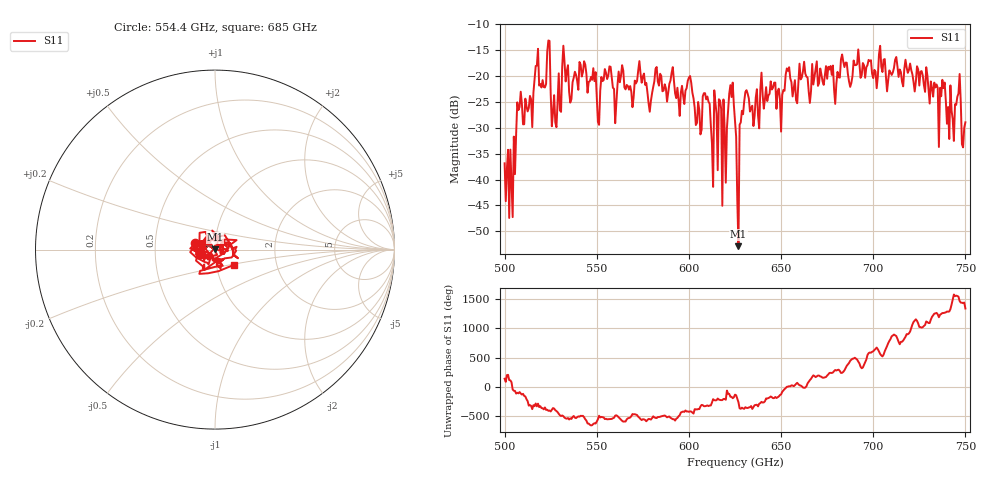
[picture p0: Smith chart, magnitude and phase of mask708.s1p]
!Created with skrf (http://scikit-rf.org).
# GHz S MA R 50.0
!freq magS11 angS11
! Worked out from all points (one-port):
!   401 points, 500 GHz to 750 GHz, reference 50 ohm
!   lowest |S11| = -52.9 dB at 626.9 GHz (marker M1), VSWR 1.00, Z = 50 + j0.227 ohm
!   |S11| at or under -10 dB: start of sweep to end of sweep
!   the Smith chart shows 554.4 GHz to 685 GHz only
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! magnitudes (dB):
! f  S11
! 500 GHz  -36.9
! 503.8 GHz  -40.5
! 508.1 GHz  -26.0
! 513.8 GHz  -23.9
! 516.9 GHz  -18.1
! 523.8 GHz  -13.2
! 526.9 GHz  -23.7
! 531.2 GHz  -18.2
! 542.5 GHz  -19.3
! 551.2 GHz  -29.4
! 562.5 GHz  -21.2
! 593.8 GHz  -22.3
! 600.6 GHz  -20.0
! 605.6 GHz  -26.6
! 609.4 GHz  -24.5
! 611.9 GHz  -29.5
! 615 GHz  -27.3
! 619.4 GHz  -30.1
! 623.1 GHz  -24.1
! 625 GHz  -28.5
! 626.9 GHz  -52.9
! 631.2 GHz  -22.8
! 656.2 GHz  -24.0
! 687.5 GHz  -22.1
! 718.8 GHz  -19.4
! 742.5 GHz  -26.7
! 746.2 GHz  -23.4
! 750 GHz  -29.0
